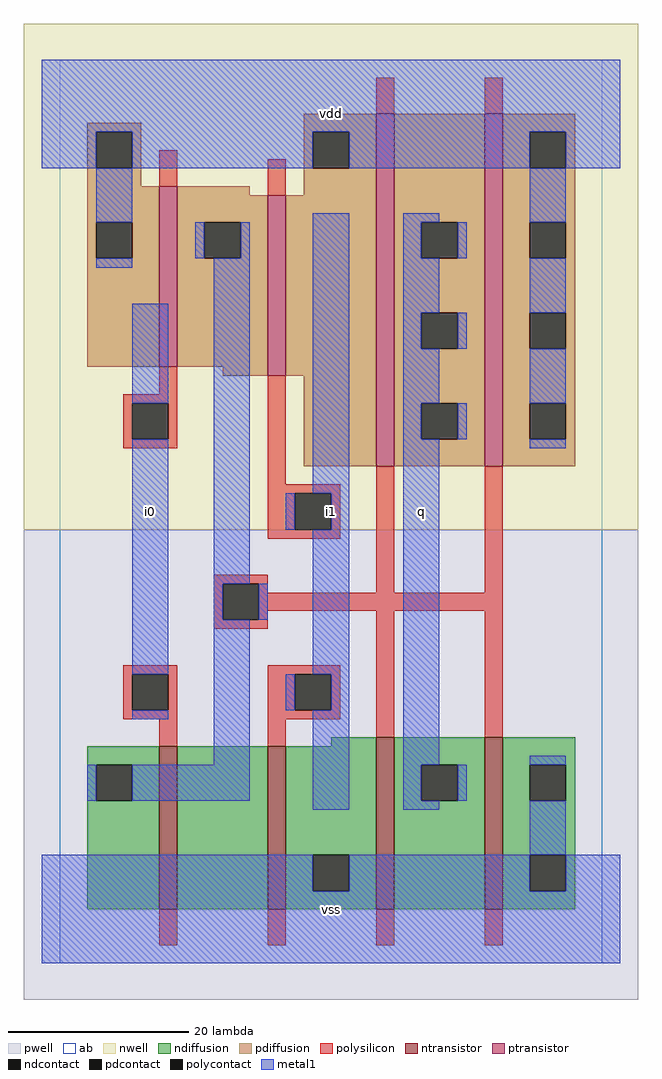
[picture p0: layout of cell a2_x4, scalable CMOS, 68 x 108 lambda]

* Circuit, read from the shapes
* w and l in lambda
.subckt a2_x4 i0 i1 q vdd vss
M1 n1 i0 n2 VSUBS nfet w=18 l=2
M2 vss i1 n1 VSUBS nfet w=18 l=2
M3 q n2 vss VSUBS nfet w=19 l=2 m=2
M4 n2 i0 vdd n3 pfet w=20 l=2
M5 vdd i1 n2 n3 pfet w=20 l=2
M6 q n2 vdd n3 pfet w=39 l=2 m=2
.ends

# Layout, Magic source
magic
tech scmos
<< ab >>
rect 0 0 60 100
<< pwell >>
rect -4 -4 64 48
<< nwell >>
rect -4 48 64 104
<< polysilicon >>
rect 35 94 37 98
rect 47 94 49 98
rect 11 86 13 90
rect 23 85 25 89
rect 11 63 13 66
rect 7 62 13 63
rect 7 58 8 62
rect 12 58 13 62
rect 7 57 13 58
rect 23 53 25 65
rect 23 52 31 53
rect 23 48 26 52
rect 30 48 31 52
rect 23 47 31 48
rect 17 42 23 43
rect 17 38 18 42
rect 22 41 23 42
rect 35 41 37 55
rect 47 41 49 55
rect 22 39 49 41
rect 22 38 23 39
rect 17 37 23 38
rect 7 32 13 33
rect 7 28 8 32
rect 12 28 13 32
rect 7 27 13 28
rect 11 24 13 27
rect 23 32 31 33
rect 23 28 26 32
rect 30 28 31 32
rect 23 27 31 28
rect 23 24 25 27
rect 35 25 37 39
rect 47 25 49 39
rect 11 2 13 6
rect 23 2 25 6
rect 35 2 37 6
rect 47 2 49 6
<< ndiffusion >>
rect 30 24 35 25
rect 3 22 11 24
rect 3 18 4 22
rect 8 18 11 22
rect 3 6 11 18
rect 13 6 23 24
rect 25 12 35 24
rect 25 8 28 12
rect 32 8 35 12
rect 25 6 35 8
rect 37 22 47 25
rect 37 18 40 22
rect 44 18 47 22
rect 37 6 47 18
rect 49 22 57 25
rect 49 18 52 22
rect 56 18 57 22
rect 49 12 57 18
rect 49 8 52 12
rect 56 8 57 12
rect 49 6 57 8
<< pdiffusion >>
rect 3 92 9 93
rect 3 88 4 92
rect 8 88 9 92
rect 27 92 35 94
rect 3 86 9 88
rect 3 82 11 86
rect 3 78 4 82
rect 8 78 11 82
rect 3 66 11 78
rect 13 85 21 86
rect 27 88 28 92
rect 32 88 35 92
rect 27 85 35 88
rect 13 82 23 85
rect 13 78 16 82
rect 20 78 23 82
rect 13 66 23 78
rect 18 65 23 66
rect 25 65 35 85
rect 27 55 35 65
rect 37 82 47 94
rect 37 78 40 82
rect 44 78 47 82
rect 37 72 47 78
rect 37 68 40 72
rect 44 68 47 72
rect 37 62 47 68
rect 37 58 40 62
rect 44 58 47 62
rect 37 55 47 58
rect 49 92 57 94
rect 49 88 52 92
rect 56 88 57 92
rect 49 82 57 88
rect 49 78 52 82
rect 56 78 57 82
rect 49 72 57 78
rect 49 68 52 72
rect 56 68 57 72
rect 49 62 57 68
rect 49 58 52 62
rect 56 58 57 62
rect 49 55 57 58
<< metal1 >>
rect -2 92 62 100
rect -2 88 4 92
rect 8 88 28 92
rect 32 88 52 92
rect 56 88 62 92
rect 4 82 8 88
rect 15 78 16 82
rect 20 78 21 82
rect 4 77 8 78
rect 8 62 12 73
rect 8 32 12 58
rect 8 27 12 28
rect 17 42 21 78
rect 28 52 32 83
rect 25 48 26 52
rect 30 48 32 52
rect 17 38 18 42
rect 22 38 23 42
rect 17 22 21 38
rect 28 32 32 48
rect 25 28 26 32
rect 30 28 32 32
rect 3 18 4 22
rect 8 18 21 22
rect 28 17 32 28
rect 38 82 42 83
rect 52 82 56 88
rect 38 78 40 82
rect 44 78 45 82
rect 38 72 42 78
rect 52 72 56 78
rect 38 68 40 72
rect 44 68 45 72
rect 38 62 42 68
rect 52 62 56 68
rect 38 58 40 62
rect 44 58 45 62
rect 38 22 42 58
rect 52 57 56 58
rect 52 22 56 23
rect 38 18 40 22
rect 44 18 45 22
rect 38 17 42 18
rect 52 12 56 18
rect -2 8 28 12
rect 32 8 52 12
rect 56 8 62 12
rect -2 0 62 8
<< ntransistor >>
rect 11 6 13 24
rect 23 6 25 24
rect 35 6 37 25
rect 47 6 49 25
<< ptransistor >>
rect 11 66 13 86
rect 23 65 25 85
rect 35 55 37 94
rect 47 55 49 94
<< polycontact >>
rect 8 58 12 62
rect 26 48 30 52
rect 18 38 22 42
rect 8 28 12 32
rect 26 28 30 32
<< ndcontact >>
rect 4 18 8 22
rect 28 8 32 12
rect 40 18 44 22
rect 52 18 56 22
rect 52 8 56 12
<< pdcontact >>
rect 4 88 8 92
rect 4 78 8 82
rect 28 88 32 92
rect 16 78 20 82
rect 40 78 44 82
rect 40 68 44 72
rect 40 58 44 62
rect 52 88 56 92
rect 52 78 56 82
rect 52 68 56 72
rect 52 58 56 62
<< labels >>
rlabel metal1 10 50 10 50 6 i0
rlabel metal1 30 6 30 6 6 vss
rlabel metal1 40 50 40 50 6 q
rlabel metal1 30 50 30 50 6 i1
rlabel metal1 30 94 30 94 6 vdd
<< end >>
